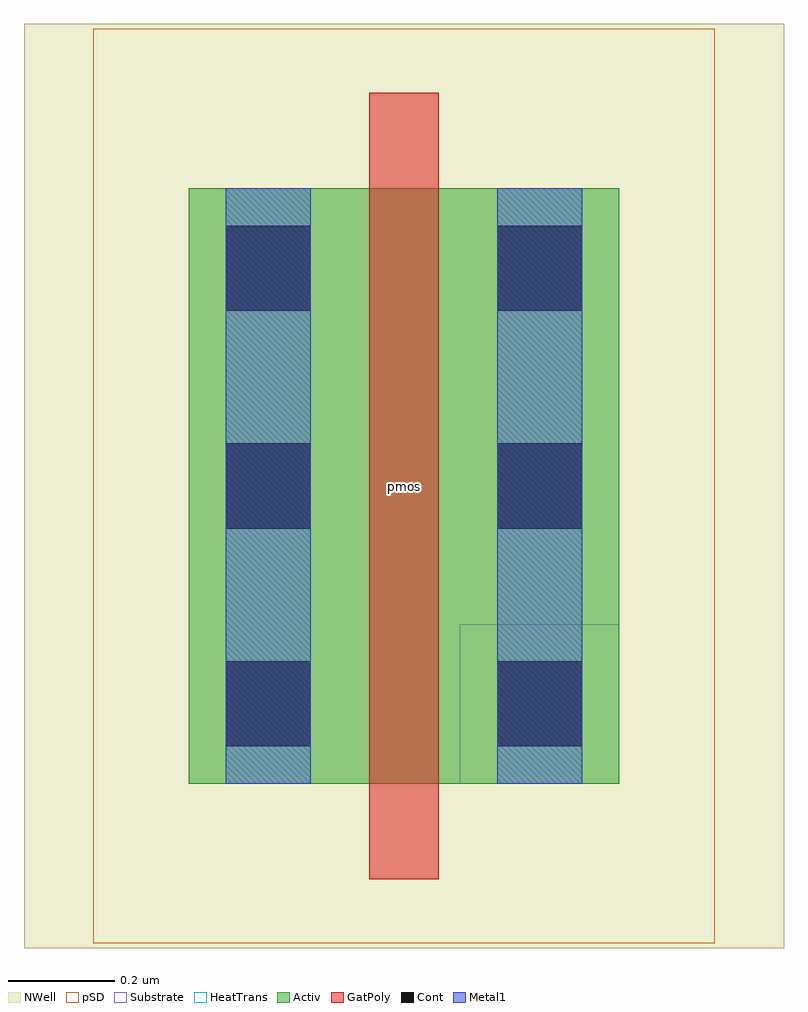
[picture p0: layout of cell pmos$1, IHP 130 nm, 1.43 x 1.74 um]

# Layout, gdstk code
import gdstk
lib = gdstk.Library(unit=1e-6, precision=1e-09)
def R(c, l, rs):  # rectangles x0, y0, x1, y1
    for r in rs: c.add(gdstk.rectangle(r[:2], r[2:], *l))
def A(c, l, x, y, w, h, nx, ny, dx, dy):  # array of equal rectangles
    R(c, l, [(x+i*dx, y+j*dy, x+i*dx+w, y+j*dy+h) for i in range(nx) for j in range(ny)])
Activ = (1, 0)
GatPoly = (5, 0)
Cont = (6, 0)
Metal1 = (8, 0)
pSD = (14, 0)
NWell = (31, 0)
Substrate = (40, 0)
HeatTrans = (51, 0)

pmos_1 = lib.new_cell('pmos$1')
R(pmos_1, Activ, [(0,0,0.3,0.3), (0,0,0.81,1.12), (0.51,0,0.81,0.3)])
R(pmos_1, GatPoly, [(0.34,-0.18,0.47,1.3), (0.34,-0.18,0.47,1.3)])
A(pmos_1, Cont, 0.07, 0.07, 0.16, 0.16, 1, 3, 0, 0.41)
A(pmos_1, Cont, 0.58, 0.07, 0.16, 0.16, 1, 3, 0, 0.41)
R(pmos_1, Metal1, [(0.07,0,0.23,1.12), (0.07,0,0.23,1.12), (0.58,0,0.74,1.12), (0.58,0,0.74,1.12)])
R(pmos_1, pSD, [(-0.18,-0.3,0.99,1.42)])
R(pmos_1, NWell, [(-0.31,-0.31,1.12,1.43)])
R(pmos_1, Substrate, [(0.51,0,0.81,0.3)])
R(pmos_1, HeatTrans, [(0.34,-0.18,0.47,1.3)])
pmos_1.add(gdstk.Label('pmos', (0.405,0.56), layer=63, texttype=0))
pmos_1.add(gdstk.Label('pmos', (0.405,0.56), layer=51, texttype=0))

lib.write_gds('pmos_1.gds')
